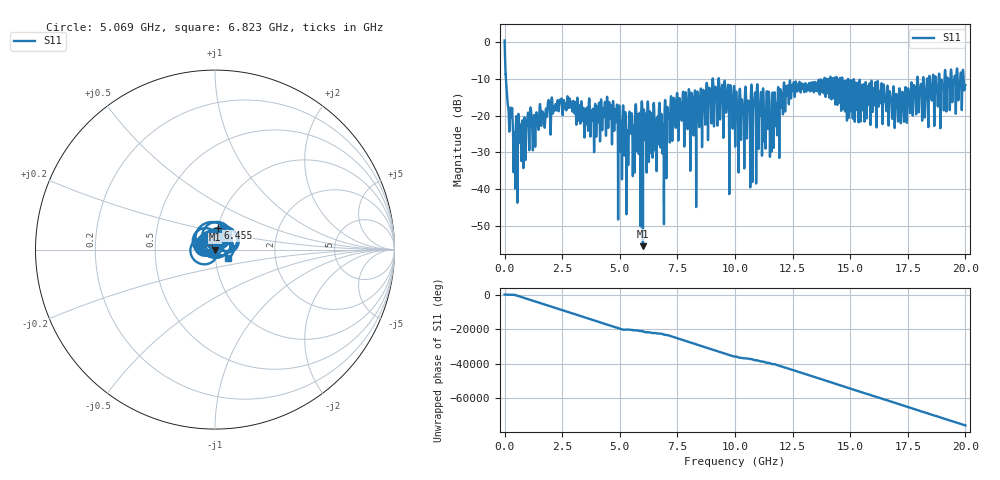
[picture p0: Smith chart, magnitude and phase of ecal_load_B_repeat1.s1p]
! MS46122B
! 2250307/22442219
! 7/23/2025 8:00:24 AM
! C:\USERS\SPARKY\DOCUMENTS\VNA_DATA\JULY23_2025\3K\ECAL_LOAD_B_REPEAT1.S1P
! CHANNEL.1
! TR.MEASUREMENT
! RAW.DATA
# GHZ S RI R 50.0
! FREQ.GHZ  S11RE  S11IM
!; PortSelection: Port_1
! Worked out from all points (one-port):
!   10001 points, 1 MHz to 20 GHz, reference 50 ohm
!   lowest |S11| = -55.5 dB at 6.005 GHz (marker M1), VSWR 1.00, Z = 50.1 - j0.111 ohm
!   |S11| at or under -10 dB: 57.49 MHz to 9.028 GHz (8.97 GHz wide, 197 % of centre); 9.3 GHz to 13.88 GHz (4.58 GHz wide, 39.5 % of centre); 14.66 GHz to 17.91 GHz (3.249 GHz wide, 19.9 % of centre) (the widest 3 of 24)
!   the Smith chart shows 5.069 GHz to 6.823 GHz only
!   S11 on the Smith chart (normalised r, x): 5.069 GHz: 0.86, +0.05; 6.455 GHz: 1.00, +0.25; 6.823 GHz: 1.15, -0.11
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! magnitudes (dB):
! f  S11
! 1 MHz  0.4
! 143 MHz  -17.2
! 469 MHz  -33.5
! 1.075 GHz  -28.5
! 1.269 GHz  -20.4
! 1.869 GHz  -17.4
! 2.501 GHz  -17.7
! 3.807 GHz  -21.1
! 4.527 GHz  -17.2
! 5.001 GHz  -20.6
! 5.069 GHz  -22.1
! 5.283 GHz  -33.1
! 5.451 GHz  -21.9
! 6.005 GHz  -55.5
! 6.455 GHz  -18.3
! 6.823 GHz  -21.2
! 7.291 GHz  -21.5
! 7.501 GHz  -14.4
! 8.389 GHz  -14.6
! 9.101 GHz  -18.2
! 10 GHz  -22.8
! 10.08 GHz  -17.3
! 10.9 GHz  -17.0
! 11.59 GHz  -20.2
! 12.5 GHz  -13.2
! 15 GHz  -11.2
! 17.5 GHz  -13.0
! 20 GHz  -11.8
